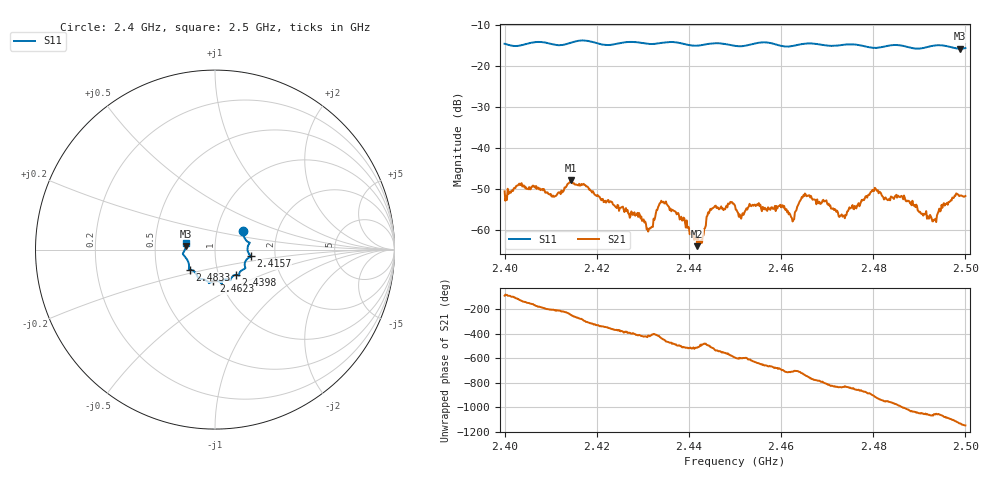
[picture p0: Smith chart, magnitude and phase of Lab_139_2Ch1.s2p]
# Hz S RI R 50
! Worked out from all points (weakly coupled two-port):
!   601 points, 2.4 GHz to 2.5 GHz, reference 50 ohm
!   highest |S21| = -47.84 dB at 2.4143 GHz (marker M1); lowest = -63.9 dB at 2.4418 GHz (marker M2)
!   lowest |S11| = -15.7 dB at 2.4988 GHz (marker M3), VSWR 1.39, Z = 36 + j1.37 ohm
!   |S11| at or under -10 dB: start of sweep to end of sweep
!   S12 and S22 are empty: the file has one direction only
!   S11 on the Smith chart (normalised r, x): 2.4 GHz: 1.33, +0.29; 2.4157 GHz: 1.49, -0.12; 2.4398 GHz: 1.21, -0.35; 2.4623 GHz: 0.92, -0.34; 2.4833 GHz: 0.74, -0.17; 2.5 GHz: 0.72, +0.06
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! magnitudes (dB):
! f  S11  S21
! 2.4 GHz  -14.5  -50.5
! 2.4032 GHz  -15.0  -48.6
! 2.4107 GHz  -14.7  -51.8
! 2.4143 GHz  -14.3  -47.8
! 2.4157 GHz  -13.9  -48.9
! 2.4167 GHz  -13.7  -48.7
! 2.4313 GHz  -14.6  -59.7
! 2.4333 GHz  -14.4  -54.3
! 2.4398 GHz  -14.8  -59.2
! 2.4418 GHz  -15.0  -63.9
! 2.4452 GHz  -14.4  -54.6
! 2.45 GHz  -15.0  -54.0
! 2.4602 GHz  -15.1  -53.9
! 2.4623 GHz  -15.1  -57.0
! 2.4648 GHz  -14.5  -51.5
! 2.4667 GHz  -14.4  -52.2
! 2.4733 GHz  -14.8  -56.7
! 2.48 GHz  -15.5  -50.4
! 2.4833 GHz  -15.0  -52.5
! 2.4932 GHz  -14.9  -57.4
! 2.4988 GHz  -15.7  -51.6
! 2.5 GHz  -15.5  -51.6
